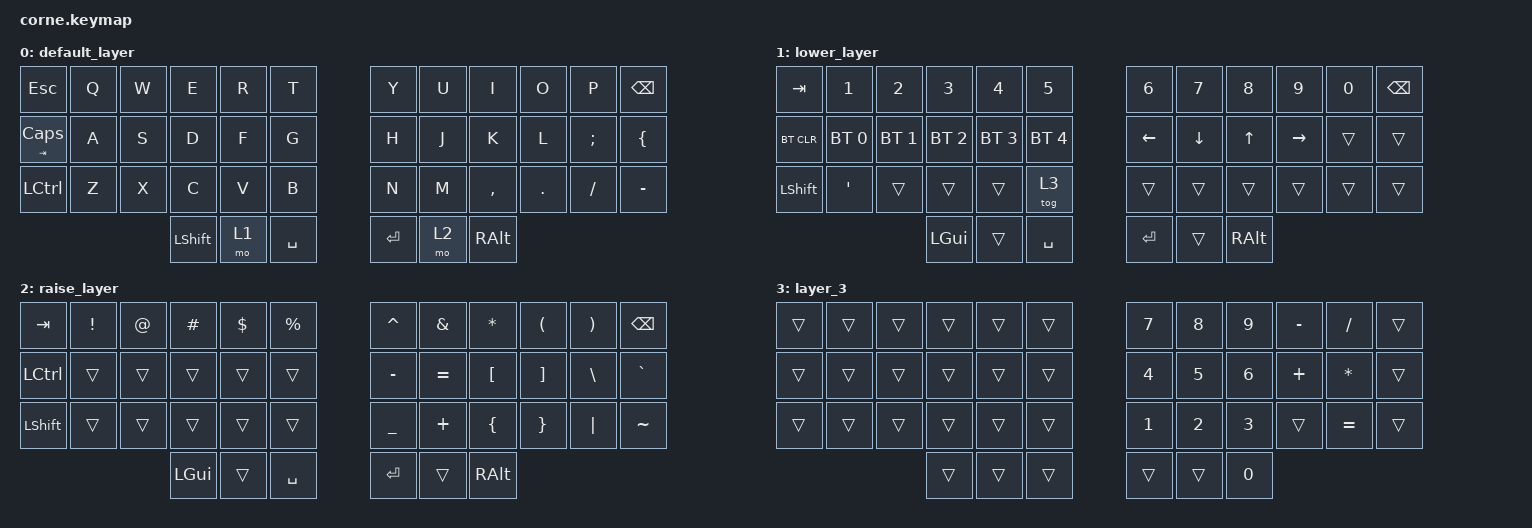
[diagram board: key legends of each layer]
/*
 * Copyright (c) 2020 The ZMK Contributors
 *
 * SPDX-License-Identifier: MIT
 */

#include <behaviors.dtsi>
#include <dt-bindings/zmk/bt.h>
#include <dt-bindings/zmk/keys.h>

/ {
    keymap {
        compatible = "zmk,keymap";

        default_layer {
            // -----------------------------------------------------------------------------------------
            // |  TAB |  Q  |  W  |  E  |  R  |  T  |   |  Y  |  U   |  I  |  O  |  P  | BSPC |
            // | CTRL |  A  |  S  |  D  |  F  |  G  |   |  H  |  J   |  K  |  L  |  ;  |  '   |
            // | SHFT |  Z  |  X  |  C  |  V  |  B  |   |  N  |  M   |  ,  |  .  |  /  | ESC  |
            //                    | GUI | LWR | SPC |   | ENT | RSE  | ALT |

            bindings = <
&kp ESC       &kp Q  &kp W  &kp E           &kp R  &kp T        &kp Y    &kp U  &kp I      &kp O    &kp P     &kp BSPC
&mt TAB CLCK  &kp A  &kp S  &kp D           &kp F  &kp G        &kp H    &kp J  &kp K      &kp L    &kp SEMI  &kp LEFT_BRACE
&kp LCTRL     &kp Z  &kp X  &kp C           &kp V  &kp B        &kp N    &kp M  &kp COMMA  &kp DOT  &kp FSLH  &kp MINUS
                            &kp LEFT_SHIFT  &mo 1  &kp SPACE    &kp RET  &mo 2  &kp RALT
            >;
        };

        lower_layer {
            // -----------------------------------------------------------------------------------------
            // |  TAB |  1  |  2  |  3  |  4  |  5  |   |  6  |  7  |  8  |  9  |  0  | BSPC |
            // | BTCLR| BT1 | BT2 | BT3 | BT4 | BT5 |   | LFT | DWN |  UP | RGT |     |      |
            // | SHFT |     |     |     |     |     |   |     |     |     |     |     |      |
            //                    | GUI |     | SPC |   | ENT |     | ALT |

            bindings = <
&kp TAB     &kp N1        &kp N2        &kp N3        &kp N4        &kp N5          &kp N6    &kp N7    &kp N8    &kp N9     &kp N0  &kp BSPC
&bt BT_CLR  &bt BT_SEL 0  &bt BT_SEL 1  &bt BT_SEL 2  &bt BT_SEL 3  &bt BT_SEL 4    &kp LEFT  &kp DOWN  &kp UP    &kp RIGHT  &trans  &trans
&kp LSHFT   &kp APOS      &trans        &trans        &trans        &tog 3          &trans    &trans    &trans    &trans     &trans  &trans
                                        &kp LGUI      &trans        &kp SPACE       &kp RET   &trans    &kp RALT
            >;
        };

        raise_layer {
            // -----------------------------------------------------------------------------------------
            // |  TAB |  !  |  @  |  #  |  $  |  %  |   |  ^  |  &  |  *  |  (  |  )  | BSPC |
            // | CTRL |     |     |     |     |     |   |  -  |  =  |  [  |  ]  |  \  |  `   |
            // | SHFT |     |     |     |     |     |   |  _  |  +  |  {  |  }  | "|" |  ~   |
            //                    | GUI |     | SPC |   | ENT |     | ALT |

            bindings = <
&kp TAB    &kp EXCL  &kp AT  &kp HASH  &kp DLLR  &kp PRCNT    &kp CARET  &kp AMPS   &kp ASTRK  &kp LPAR  &kp RPAR  &kp BSPC
&kp LCTRL  &trans    &trans  &trans    &trans    &trans       &kp MINUS  &kp EQUAL  &kp LBKT   &kp RBKT  &kp BSLH  &kp GRAVE
&kp LSHFT  &trans    &trans  &trans    &trans    &trans       &kp UNDER  &kp PLUS   &kp LBRC   &kp RBRC  &kp PIPE  &kp TILDE
                             &kp LGUI  &trans    &kp SPACE    &kp RET    &trans     &kp RALT
            >;
        };

        layer_3 {
            bindings = <
&trans  &trans  &trans  &trans  &trans  &trans    &kp N7  &kp N8  &kp N9  &kp MINUS  &kp FSLH   &trans
&trans  &trans  &trans  &trans  &trans  &trans    &kp N4  &kp N5  &kp N6  &kp PLUS   &kp ASTRK  &trans
&trans  &trans  &trans  &trans  &trans  &trans    &kp N1  &kp N2  &kp N3  &trans     &kp EQUAL  &trans
                        &trans  &trans  &trans    &trans  &trans  &kp N0
            >;
        };
    };
};
